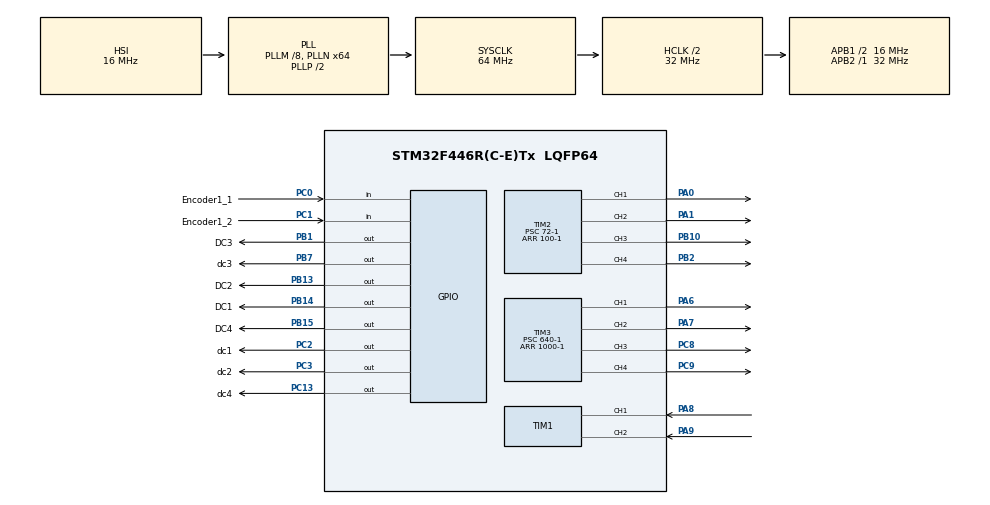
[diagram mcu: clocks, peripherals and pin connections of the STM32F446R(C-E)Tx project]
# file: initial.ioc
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Mcu.Family=STM32F4
Mcu.Name=STM32F446R(C-E)Tx
Mcu.Package=LQFP64
NVIC.PriorityGroup=NVIC_PRIORITYGROUP_4
PA0-WKUP.Signal=S_TIM2_CH1_ETR
PA1.Signal=S_TIM2_CH2
PA13.Mode=Serial_Wire
PA13.Signal=SYS_JTMS-SWDIO
PA14.Mode=Serial_Wire
PA14.Signal=SYS_JTCK-SWCLK
PA6.Signal=S_TIM3_CH1
PA7.Signal=S_TIM3_CH2
PA8.Signal=S_TIM1_CH1
PA9.Signal=S_TIM1_CH2
PB1.GPIO_Label=DC3
PB1.Signal=GPIO_Output
PB10.Signal=S_TIM2_CH3
PB13.GPIO_Label=DC2
PB13.Signal=GPIO_Output
PB14.GPIO_Label=DC1
PB14.Signal=GPIO_Output
PB15.GPIO_Label=DC4
PB15.Signal=GPIO_Output
PB2.Signal=S_TIM2_CH4
PB7.GPIO_Label=dc3
PB7.Signal=GPIO_Output
PC0.GPIO_Label=Encoder1_1
PC0.Signal=GPIO_Input
PC1.GPIO_Label=Encoder1_2
PC1.Signal=GPIO_Input
PC13.GPIO_Label=dc4
PC13.Signal=GPIO_Output
PC2.GPIO_Label=dc1
PC2.Signal=GPIO_Output
PC3.GPIO_Label=dc2
PC3.Signal=GPIO_Output
PC8.Signal=S_TIM3_CH3
PC9.Signal=S_TIM3_CH4
PH0-OSC_IN.Mode=HSE-External-Oscillator
PH0-OSC_IN.Signal=RCC_OSC_IN
PH1-OSC_OUT.Mode=HSE-External-Oscillator
PH1-OSC_OUT.Signal=RCC_OSC_OUT
ProjectManager.HeapSize=0x200
ProjectManager.StackSize=0x400
ProjectManager.TargetToolchain=STM32CubeIDE
RCC.AHBCLKDivider=RCC_SYSCLK_DIV2
RCC.AHBFreq_Value=32000000
RCC.APB1CLKDivider=RCC_HCLK_DIV2
RCC.APB1Freq_Value=16000000
RCC.APB1TimFreq_Value=32000000
RCC.APB2Freq_Value=32000000
RCC.APB2TimFreq_Value=32000000
RCC.CortexFreq_Value=32000000
RCC.HCLKFreq_Value=32000000
RCC.PLLM=8
RCC.PLLN=64
RCC.SYSCLKFreq_VALUE=64000000
RCC.SYSCLKSource=RCC_SYSCLKSOURCE_PLLCLK
RCC.USBFreq_Value=64000000
RCC.VCOOutputFreq_Value=128000000
SH.S_TIM1_CH1.0=TIM1_CH1,Encoder_Interface
SH.S_TIM1_CH2.0=TIM1_CH2,Encoder_Interface
SH.S_TIM2_CH1_ETR.0=TIM2_CH1,PWM Generation1 CH1
SH.S_TIM2_CH2.0=TIM2_CH2,PWM Generation2 CH2
SH.S_TIM2_CH3.0=TIM2_CH3,PWM Generation3 CH3
SH.S_TIM2_CH4.0=TIM2_CH4,PWM Generation4 CH4
SH.S_TIM3_CH1.0=TIM3_CH1,PWM Generation1 CH1
SH.S_TIM3_CH2.0=TIM3_CH2,PWM Generation2 CH2
SH.S_TIM3_CH3.0=TIM3_CH3,PWM Generation3 CH3
SH.S_TIM3_CH4.0=TIM3_CH4,PWM Generation4 CH4
TIM1.AutoReloadPreload=TIM_AUTORELOAD_PRELOAD_ENABLE
TIM1.EncoderMode=TIM_ENCODERMODE_TI12
TIM1.IC1Filter=10
TIM1.IC1Polarity=TIM_ICPOLARITY_FALLING
TIM1.IC2Polarity=TIM_ICPOLARITY_FALLING
TIM2.Channel-PWM\ Generation1\ CH1=TIM_CHANNEL_1
TIM2.Channel-PWM\ Generation2\ CH2=TIM_CHANNEL_2
TIM2.Channel-PWM\ Generation3\ CH3=TIM_CHANNEL_3
TIM2.Channel-PWM\ Generation4\ CH4=TIM_CHANNEL_4
TIM2.Period=100-1
TIM2.Prescaler=72-1
TIM3.Channel-PWM\ Generation1\ CH1=TIM_CHANNEL_1
TIM3.Channel-PWM\ Generation2\ CH2=TIM_CHANNEL_2
TIM3.Channel-PWM\ Generation3\ CH3=TIM_CHANNEL_3
TIM3.Channel-PWM\ Generation4\ CH4=TIM_CHANNEL_4
TIM3.Period=1000-1
TIM3.Prescaler=640-1
VP_TIM2_VS_ClockSourceINT.Mode=Internal
VP_TIM3_VS_ClockSourceINT.Mode=Internal
board=custom

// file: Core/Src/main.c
/* USER CODE BEGIN Header */
/**
  ******************************************************************************
  * @file           : main.c
  * @brief          : Main program body
  ******************************************************************************
  * @attention
  *
  * Copyright (c) 2022 STMicroelectronics.
  * All rights reserved.
  *
  * This software is licensed under terms that can be found in the LICENSE file
  * in the root directory of this software component.
  * If no LICENSE file comes with this software, it is provided AS-IS.
  *
  ******************************************************************************
  */
/* USER CODE END Header */
#include "main.h"

/* USER CODE BEGIN Includes */
#include "stdio.h"
/* USER CODE END Includes */

 TIM_HandleTypeDef htim1;
TIM_HandleTypeDef htim2;
TIM_HandleTypeDef htim3;

void SystemClock_Config(void);
static void MX_GPIO_Init(void);
static void MX_TIM2_Init(void);
static void MX_TIM3_Init(void);
static void MX_TIM1_Init(void);

/* USER CODE BEGIN 0 */
int pwm_val;
int pwm_val2;
int pwm_val3;
int pwm_val4;
int counter = 0;
int i=0;

/* USER CODE END 0 */

int main(void)
{

  /* MCU Configuration--------------------------------------------------------*/

  /* Reset of all peripherals, Initializes the Flash interface and the Systick. */
  HAL_Init();

  /* Configure the system clock */
  SystemClock_Config();

  /* Initialize all configured peripherals */
  MX_GPIO_Init();
  MX_TIM2_Init();
  MX_TIM3_Init();
  MX_TIM1_Init();
  /* USER CODE BEGIN 2 */
  // DC PWM
  HAL_TIM_PWM_Start(&htim2, TIM_CHANNEL_1);
  HAL_TIM_PWM_Start(&htim2, TIM_CHANNEL_2);
  HAL_TIM_PWM_Start(&htim2, TIM_CHANNEL_3);
  HAL_TIM_PWM_Start(&htim2, TIM_CHANNEL_4);

  // Servo PWM
  HAL_TIM_PWM_Start(&htim3, TIM_CHANNEL_1);
  HAL_TIM_PWM_Start(&htim3, TIM_CHANNEL_2);
  HAL_TIM_PWM_Start(&htim3, TIM_CHANNEL_3);
  HAL_TIM_PWM_Start(&htim3, TIM_CHANNEL_4);
  htim3.Instance->CCR1 = 75; //右後輪
  htim3.Instance->CCR2 = 75; //左後輪
  htim3.Instance->CCR3 = 75; //左前輪
  htim3.Instance->CCR4 = 75; //右前輪
  HAL_Delay(1000);

  HAL_TIM_Encoder_Start(&htim1, TIM_CHANNEL_ALL);
  /* USER CODE END 2 */

  /* Infinite loop */
  /* USER CODE BEGIN WHILE */
  while (1)
  {
	  // DC PWM
	  htim2.Instance-> CCR1 = pwm_val;
	  pwm_val=80;
	  htim2.Instance-> CCR2 = pwm_val2;
	  pwm_val2=80;
	  htim2.Instance-> CCR3 = pwm_val3;
	  pwm_val3=80;
	  htim2.Instance-> CCR4 = pwm_val4;
	  pwm_val4=80;

	  //servo
	  i=0;
 	  while(i<10)
 	  {
 		  htim3.Instance->CCR1 = 76+i;
 		  //htim3.Instance->CCR2 = 74-i;
 		  //htim3.Instance->CCR3 = 77-i;
 		  //htim3.Instance->CCR4 = 75+i;
 		  i++;
 		  HAL_Delay(1000);
 	  }

 	  //DC move
	  /*for(int i=0;i<4;i++){
		  int a=1;
		  int b=0;
		  HAL_GPIO_WritePin(GPIOC, dc1_Pin, a);
		  HAL_GPIO_WritePin(GPIOC, dc2_Pin, b);
		  HAL_GPIO_WritePin(GPIOB, dc3_Pin, a);
		  HAL_GPIO_WritePin(GPIOC, dc4_Pin, b);
		  HAL_GPIO_WritePin(GPIOB, DC1_Pin, b);
		  HAL_GPIO_WritePin(GPIOB, DC2_Pin, a);
		  HAL_GPIO_WritePin(GPIOB, DC3_Pin, a);
		  HAL_GPIO_WritePin(GPIOB, DC4_Pin, b);
		  HAL_Delay(1000);
	  }*/
	  /*for(int i=0;i<5;i++){
	  	  int a=0;
	  	  int b=0;
	  	  HAL_GPIO_WritePin(GPIOC, dc1_Pin, a);
	  	  HAL_GPIO_WritePin(GPIOC, dc2_Pin, b);
	  	  HAL_GPIO_WritePin(GPIOB, dc3_Pin, b);
	  	  HAL_GPIO_WritePin(GPIOC, dc4_Pin, a);
	  	  HAL_GPIO_WritePin(GPIOB, DC1_Pin, b);
	  	  HAL_GPIO_WritePin(GPIOB, DC2_Pin, a);
	  	  HAL_GPIO_WritePin(GPIOB, DC3_Pin, a);
	  	  HAL_GPIO_WritePin(GPIOB, DC4_Pin, b);
	  	  HAL_Delay(1000);
	  }*/

	  //DC encoder
	  /*if(HAL_GPIO_ReadPin(GPIOC, Encoder1_1_Pin) == GPIO_PIN_RESET)
	  {
		  if(HAL_GPIO_ReadPin(GPIOC, Encoder1_2_Pin) == GPIO_PIN_RESET)
		  {
			  while(HAL_GPIO_ReadPin(GPIOC, Encoder1_2_Pin) == GPIO_PIN_RESET){};
			  counter++;
			  while(HAL_GPIO_ReadPin(GPIOC, Encoder1_1_Pin) == GPIO_PIN_RESET){};
			  HAL_Delay(10);
		  }
		  if(HAL_GPIO_ReadPin(GPIOC, Encoder1_2_Pin) == GPIO_PIN_SET)
		  		  {
		  			  while(HAL_GPIO_ReadPin(GPIOC, Encoder1_2_Pin) == GPIO_PIN_SET){};
		  			  counter--;
		  			  while(HAL_GPIO_ReadPin(GPIOC, Encoder1_1_Pin) == GPIO_PIN_RESET){};
		  			  while(HAL_GPIO_ReadPin(GPIOC, Encoder1_2_Pin) == GPIO_PIN_RESET){};
		  			  HAL_Delay(10);
		  		  }
	  }*/

    /* USER CODE END WHILE */

  }
}

void SystemClock_Config(void)
{
  RCC_OscInitTypeDef RCC_OscInitStruct = {0};
  RCC_ClkInitTypeDef RCC_ClkInitStruct = {0};

  /** Configure the main internal regulator output voltage
  */
  __HAL_RCC_PWR_CLK_ENABLE();
  __HAL_PWR_VOLTAGESCALING_CONFIG(PWR_REGULATOR_VOLTAGE_SCALE3);

  /** Initializes the RCC Oscillators according to the specified parameters
  * in the RCC_OscInitTypeDef structure.
  */
  RCC_OscInitStruct.OscillatorType = RCC_OSCILLATORTYPE_HSI;
  RCC_OscInitStruct.HSIState = RCC_HSI_ON;
  RCC_OscInitStruct.HSICalibrationValue = RCC_HSICALIBRATION_DEFAULT;
  RCC_OscInitStruct.PLL.PLLState = RCC_PLL_ON;
  RCC_OscInitStruct.PLL.PLLSource = RCC_PLLSOURCE_HSI;
  RCC_OscInitStruct.PLL.PLLM = 8;
  RCC_OscInitStruct.PLL.PLLN = 64;
  RCC_OscInitStruct.PLL.PLLP = RCC_PLLP_DIV2;
  RCC_OscInitStruct.PLL.PLLQ = 2;
  RCC_OscInitStruct.PLL.PLLR = 2;
  if (HAL_RCC_OscConfig(&RCC_OscInitStruct) != HAL_OK)
  {
    Error_Handler();
  }

  /** Initializes the CPU, AHB and APB buses clocks
  */
  RCC_ClkInitStruct.ClockType = RCC_CLOCKTYPE_HCLK|RCC_CLOCKTYPE_SYSCLK
                              |RCC_CLOCKTYPE_PCLK1|RCC_CLOCKTYPE_PCLK2;
  RCC_ClkInitStruct.SYSCLKSource = RCC_SYSCLKSOURCE_PLLCLK;
  RCC_ClkInitStruct.AHBCLKDivider = RCC_SYSCLK_DIV2;
  RCC_ClkInitStruct.APB1CLKDivider = RCC_HCLK_DIV2;
  RCC_ClkInitStruct.APB2CLKDivider = RCC_HCLK_DIV1;

  if (HAL_RCC_ClockConfig(&RCC_ClkInitStruct, FLASH_LATENCY_1) != HAL_OK)
  {
    Error_Handler();
  }
}

static void MX_TIM1_Init(void)
{

  TIM_Encoder_InitTypeDef sConfig = {0};
  TIM_MasterConfigTypeDef sMasterConfig = {0};

  htim1.Instance = TIM1;
  htim1.Init.Prescaler = 0;
  htim1.Init.CounterMode = TIM_COUNTERMODE_UP;
  htim1.Init.Period = 65535;
  htim1.Init.ClockDivision = TIM_CLOCKDIVISION_DIV1;
  htim1.Init.RepetitionCounter = 0;
  htim1.Init.AutoReloadPreload = TIM_AUTORELOAD_PRELOAD_ENABLE;
  sConfig.EncoderMode = TIM_ENCODERMODE_TI12;
  sConfig.IC1Polarity = TIM_ICPOLARITY_FALLING;
  sConfig.IC1Selection = TIM_ICSELECTION_DIRECTTI;
  sConfig.IC1Prescaler = TIM_ICPSC_DIV1;
  sConfig.IC1Filter = 10;
  sConfig.IC2Polarity = TIM_ICPOLARITY_FALLING;
  sConfig.IC2Selection = TIM_ICSELECTION_DIRECTTI;
  sConfig.IC2Prescaler = TIM_ICPSC_DIV1;
  sConfig.IC2Filter = 0;
  if (HAL_TIM_Encoder_Init(&htim1, &sConfig) != HAL_OK)
  {
    Error_Handler();
  }
  sMasterConfig.MasterOutputTrigger = TIM_TRGO_RESET;
  sMasterConfig.MasterSlaveMode = TIM_MASTERSLAVEMODE_DISABLE;
  if (HAL_TIMEx_MasterConfigSynchronization(&htim1, &sMasterConfig) != HAL_OK)
  {
    Error_Handler();
  }

}

static void MX_TIM2_Init(void)
{

  TIM_ClockConfigTypeDef sClockSourceConfig = {0};
  TIM_MasterConfigTypeDef sMasterConfig = {0};
  TIM_OC_InitTypeDef sConfigOC = {0};

  htim2.Instance = TIM2;
  htim2.Init.Prescaler = 72-1;
  htim2.Init.CounterMode = TIM_COUNTERMODE_UP;
  htim2.Init.Period = 100-1;
  htim2.Init.ClockDivision = TIM_CLOCKDIVISION_DIV1;
  htim2.Init.AutoReloadPreload = TIM_AUTORELOAD_PRELOAD_DISABLE;
  if (HAL_TIM_Base_Init(&htim2) != HAL_OK)
  {
    Error_Handler();
  }
  sClockSourceConfig.ClockSource = TIM_CLOCKSOURCE_INTERNAL;
  if (HAL_TIM_ConfigClockSource(&htim2, &sClockSourceConfig) != HAL_OK)
  {
    Error_Handler();
  }
  if (HAL_TIM_PWM_Init(&htim2) != HAL_OK)
  {
    Error_Handler();
  }
  sMasterConfig.MasterOutputTrigger = TIM_TRGO_RESET;
  sMasterConfig.MasterSlaveMode = TIM_MASTERSLAVEMODE_DISABLE;
  if (HAL_TIMEx_MasterConfigSynchronization(&htim2, &sMasterConfig) != HAL_OK)
  {
    Error_Handler();
  }
  sConfigOC.OCMode = TIM_OCMODE_PWM1;
  sConfigOC.Pulse = 0;
  sConfigOC.OCPolarity = TIM_OCPOLARITY_HIGH;
  sConfigOC.OCFastMode = TIM_OCFAST_DISABLE;
  if (HAL_TIM_PWM_ConfigChannel(&htim2, &sConfigOC, TIM_CHANNEL_1) != HAL_OK)
  {
    Error_Handler();
  }
  if (HAL_TIM_PWM_ConfigChannel(&htim2, &sConfigOC, TIM_CHANNEL_2) != HAL_OK)
  {
    Error_Handler();
  }
  if (HAL_TIM_PWM_ConfigChannel(&htim2, &sConfigOC, TIM_CHANNEL_3) != HAL_OK)
  {
    Error_Handler();
  }
  if (HAL_TIM_PWM_ConfigChannel(&htim2, &sConfigOC, TIM_CHANNEL_4) != HAL_OK)
  {
    Error_Handler();
  }
  HAL_TIM_MspPostInit(&htim2);

}

static void MX_TIM3_Init(void)
{

  TIM_ClockConfigTypeDef sClockSourceConfig = {0};
  TIM_MasterConfigTypeDef sMasterConfig = {0};
  TIM_OC_InitTypeDef sConfigOC = {0};

  htim3.Instance = TIM3;
  htim3.Init.Prescaler = 640-1;
  htim3.Init.CounterMode = TIM_COUNTERMODE_UP;
  htim3.Init.Period = 1000-1;
  htim3.Init.ClockDivision = TIM_CLOCKDIVISION_DIV1;
  htim3.Init.AutoReloadPreload = TIM_AUTORELOAD_PRELOAD_DISABLE;
  if (HAL_TIM_Base_Init(&htim3) != HAL_OK)
  {
    Error_Handler();
  }
  sClockSourceConfig.ClockSource = TIM_CLOCKSOURCE_INTERNAL;
  if (HAL_TIM_ConfigClockSource(&htim3, &sClockSourceConfig) != HAL_OK)
  {
    Error_Handler();
  }
  if (HAL_TIM_PWM_Init(&htim3) != HAL_OK)
  {
    Error_Handler();
  }
  sMasterConfig.MasterOutputTrigger = TIM_TRGO_RESET;
  sMasterConfig.MasterSlaveMode = TIM_MASTERSLAVEMODE_DISABLE;
  if (HAL_TIMEx_MasterConfigSynchronization(&htim3, &sMasterConfig) != HAL_OK)
  {
    Error_Handler();
  }
  sConfigOC.OCMode = TIM_OCMODE_PWM1;
  sConfigOC.Pulse = 0;
  sConfigOC.OCPolarity = TIM_OCPOLARITY_HIGH;
  sConfigOC.OCFastMode = TIM_OCFAST_DISABLE;
  if (HAL_TIM_PWM_ConfigChannel(&htim3, &sConfigOC, TIM_CHANNEL_1) != HAL_OK)
  {
    Error_Handler();
  }
  if (HAL_TIM_PWM_ConfigChannel(&htim3, &sConfigOC, TIM_CHANNEL_2) != HAL_OK)
  {
    Error_Handler();
  }
  if (HAL_TIM_PWM_ConfigChannel(&htim3, &sConfigOC, TIM_CHANNEL_3) != HAL_OK)
  {
    Error_Handler();
  }
  if (HAL_TIM_PWM_ConfigChannel(&htim3, &sConfigOC, TIM_CHANNEL_4) != HAL_OK)
  {
    Error_Handler();
  }
  HAL_TIM_MspPostInit(&htim3);

}

static void MX_GPIO_Init(void)
{
  GPIO_InitTypeDef GPIO_InitStruct = {0};

  /* GPIO Ports Clock Enable */
  __HAL_RCC_GPIOC_CLK_ENABLE();
  __HAL_RCC_GPIOH_CLK_ENABLE();
  __HAL_RCC_GPIOA_CLK_ENABLE();
  __HAL_RCC_GPIOB_CLK_ENABLE();

  /*Configure GPIO pin Output Level */
  HAL_GPIO_WritePin(GPIOC, dc4_Pin|dc1_Pin|dc2_Pin, GPIO_PIN_RESET);

  /*Configure GPIO pin Output Level */
  HAL_GPIO_WritePin(GPIOB, DC3_Pin|DC2_Pin|DC1_Pin|DC4_Pin
                          |dc3_Pin, GPIO_PIN_RESET);

  /*Configure GPIO pins : dc4_Pin dc1_Pin dc2_Pin */
  GPIO_InitStruct.Pin = dc4_Pin|dc1_Pin|dc2_Pin;
  GPIO_InitStruct.Mode = GPIO_MODE_OUTPUT_PP;
  GPIO_InitStruct.Pull = GPIO_NOPULL;
  GPIO_InitStruct.Speed = GPIO_SPEED_FREQ_LOW;
  HAL_GPIO_Init(GPIOC, &GPIO_InitStruct);

  /*Configure GPIO pins : Encoder1_1_Pin Encoder1_2_Pin */
  GPIO_InitStruct.Pin = Encoder1_1_Pin|Encoder1_2_Pin;
  GPIO_InitStruct.Mode = GPIO_MODE_INPUT;
  GPIO_InitStruct.Pull = GPIO_NOPULL;
  HAL_GPIO_Init(GPIOC, &GPIO_InitStruct);

  /*Configure GPIO pins : DC3_Pin DC2_Pin DC1_Pin DC4_Pin
                           dc3_Pin */
  GPIO_InitStruct.Pin = DC3_Pin|DC2_Pin|DC1_Pin|DC4_Pin
                          |dc3_Pin;
  GPIO_InitStruct.Mode = GPIO_MODE_OUTPUT_PP;
  GPIO_InitStruct.Pull = GPIO_NOPULL;
  GPIO_InitStruct.Speed = GPIO_SPEED_FREQ_LOW;
  HAL_GPIO_Init(GPIOB, &GPIO_InitStruct);

}

void Error_Handler(void)
{
  __disable_irq();
  while (1)
  {
  }
}
